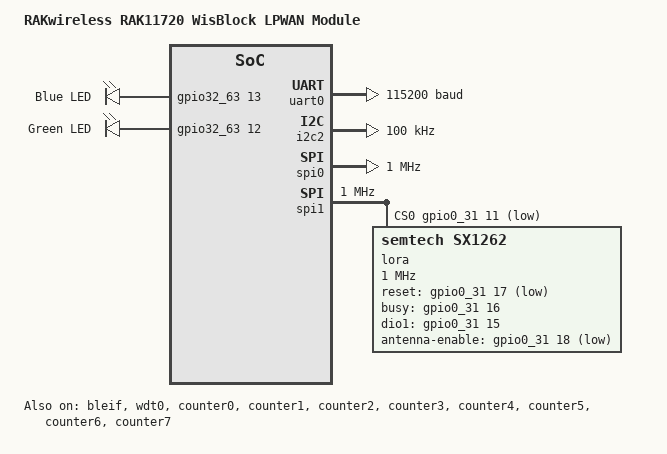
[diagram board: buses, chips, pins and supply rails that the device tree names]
/*
 * Copyright (c) 2024 RAKwireless Technology Co., Ltd. <www.rakwireless.com>
 * Sercan Erat <sercanerat@gmail.com>
 * SPDX-License-Identifier: Apache-2.0
 */

/dts-v1/;
#include <ambiq/ambiq_apollo3_blue.dtsi>
#include <zephyr/dt-bindings/lora/sx126x.h>
#include "rak11720_apollo3-pinctrl.dtsi"
#include <zephyr/dt-bindings/input/input-event-codes.h>

/ {
	model = "RAKwireless RAK11720 WisBlock LPWAN Module";
	compatible = "ambiq,rak11720";

	chosen {
		zephyr,itcm = &tcm;
		zephyr,sram = &sram0;
		zephyr,flash = &flash0;
		zephyr,console = &uart0;
		zephyr,shell-uart = &uart0;
		zephyr,uart-mcumgr = &uart0;
		zephyr,uart-pipe = &uart0;
		zephyr,flash-controller = &flash;
		zephyr,bt_hci = &bt_hci_apollo;
		zephyr,code-partition = &slot0_partition;
	};

	aliases {
		watchdog0 = &wdt0;
		led0 = &blue_led;
		led1 = &green_led;
		lora0 = &lora;
		bootloader-led0 = &blue_led;
		mcuboot-led0 = &blue_led;
	};

	leds {
		compatible = "gpio-leds";
		blue_led: led_2 {
			gpios = <&gpio32_63 13 GPIO_ACTIVE_HIGH>;
			label = "Blue LED";
		};
		green_led: led_1 {
			gpios = <&gpio32_63 12 GPIO_ACTIVE_HIGH>;
			label = "Green LED";
		};
	};
};

&flash0 {
	erase-block-size = <8192>;
	write-block-size = <4>;

	partitions {
		compatible = "fixed-partitions";
		#address-cells = <1>;
		#size-cells = <1>;

		internal_boot_partition: partition@0 {
			label = "internal_bootloader";
			reg = <0x00000000 0xc000>;
		};

		boot_partition: partition@c000 {
			label = "mcuboot";
			reg = <0x0000c000 0xc000>;
		};
		slot0_partition: partition@18000 {
			label = "image-0";
			reg = <0x00018000 0x72000>;
		};
		slot1_partition: partition@8a000 {
			label = "image-1";
			reg = <0x0008a000 0x72000>;
		};

		/* Set 16KB of storage at the end of the 1024KB of flash */
		storage_partition: partition@fc000 {
			label = "storage";
			reg = <0x000fc000 0x4000>;
		};
	};
};

&stimer0 {
	clk-source = <3>;
};

&bleif {
	pinctrl-0 = <&bleif_default>;
	pinctrl-names = "default";
	status = "okay";
};

&uart0 {
	current-speed = <115200>;
	pinctrl-0 = <&uart0_default>;
	pinctrl-names = "default";
	status = "okay";
};

&wdt0 {
	status = "okay";
};

&iom2 {
	i2c2: i2c {
		compatible = "ambiq,i2c";
		pinctrl-0 = <&i2c2_default>;
		pinctrl-names = "default";
		clock-frequency = <I2C_BITRATE_STANDARD>;
		status = "okay";
	};
};

&iom0 {
	spi0: spi {
		compatible = "ambiq,spi";
		pinctrl-0 = <&spi0_default>;
		pinctrl-names = "default";
		cs-gpios = <&gpio0_31 1 GPIO_ACTIVE_LOW>;
		clock-frequency = <DT_FREQ_M(1)>;
		status = "okay";
	};
};

&iom1 {
	spi1: spi {
		compatible = "ambiq,spi";
		status = "okay";
		pinctrl-0 = <&spi1_default>;
		pinctrl-names = "default";
		clock-frequency = <DT_FREQ_M(1)>;
		cs-gpios = <&gpio0_31 11 GPIO_ACTIVE_LOW>;

		lora: lora@0 {
			compatible = "semtech,sx1262";
			reg = <0>;
			reset-gpios = <&gpio0_31 17 GPIO_ACTIVE_LOW>;
			busy-gpios = <&gpio0_31 16 GPIO_ACTIVE_HIGH>;
			dio1-gpios = <&gpio0_31 15 GPIO_ACTIVE_HIGH>;
			antenna-enable-gpios = <&gpio0_31 18 GPIO_ACTIVE_LOW>;
			dio2-tx-enable;
			dio3-tcxo-voltage = <SX126X_DIO3_TCXO_3V3>;
			tcxo-power-startup-delay-ms = <5>;
			spi-max-frequency = <DT_FREQ_M(1)>;
		};
	};
};

&counter0 {
	status = "okay";
};

&counter1 {
	status = "okay";
};

&counter2 {
	status = "okay";
};

&counter3 {
	status = "okay";
};

&counter4 {
	status = "okay";
};

&counter5 {
	status = "okay";
};

&counter6 {
	status = "okay";
};

&counter7 {
	status = "okay";
};

&gpio0_31 {
	status = "okay";
};

&gpio32_63 {
	status = "okay";
};
